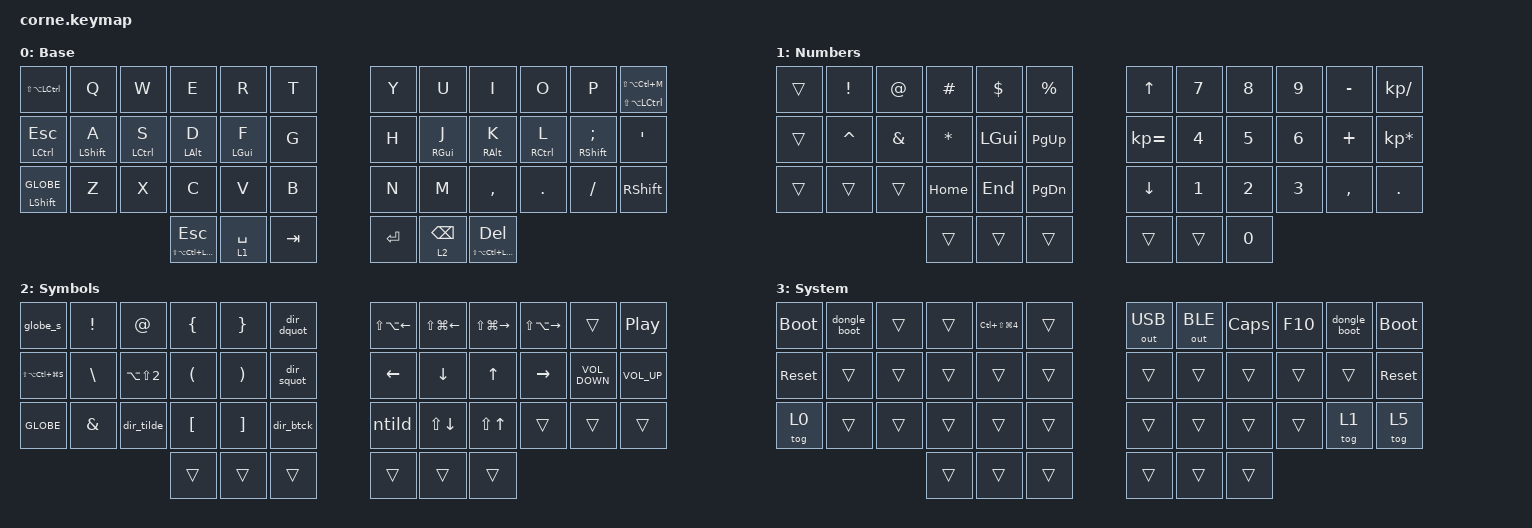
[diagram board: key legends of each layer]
/*
 * Copyright (c) 2020 The ZMK Contributors
 *
 * SPDX-License-Identifier: MIT
 */

#include <behaviors.dtsi>
#include <dt-bindings/zmk/keys.h>
#include <dt-bindings/zmk/outputs.h>

&caps_word { continue-list = <UNDERSCORE BACKSPACE DELETE MINUS>; };

/ {
    combos {
        compatible = "zmk,combos";

        caps_word {
            bindings = <&caps_word>;
            key-positions = <24 35>;
        };

        copy {
            bindings = <&kp LG(C)>;
            key-positions = <27 26>;
        };

        paste {
            bindings = <&kp LG(V)>;
            key-positions = <28 27>;
        };

        cut {
            bindings = <&kp LG(X)>;
            key-positions = <25 26>;
        };

        num1 {
            bindings = <&kp N1>;
            key-positions = <1 13>;
            layers = <0 2>;
            require-prior-idle-ms = <50>;
        };

        num2 {
            bindings = <&kp N2>;
            key-positions = <2 14>;
            layers = <0 2>;
            require-prior-idle-ms = <50>;
        };

        num3 {
            bindings = <&kp N3>;
            key-positions = <3 15>;
            layers = <0 2>;
            require-prior-idle-ms = <50>;
        };

        num4 {
            bindings = <&kp N4>;
            key-positions = <4 16>;
            layers = <0 2>;
            require-prior-idle-ms = <50>;
        };

        num5 {
            bindings = <&kp N5>;
            key-positions = <5 17>;
            layers = <0 2>;
            require-prior-idle-ms = <50>;
        };

        num6 {
            bindings = <&kp N6>;
            key-positions = <6 18>;
            layers = <0 2>;
            require-prior-idle-ms = <50>;
        };

        num7 {
            bindings = <&kp N7>;
            key-positions = <7 19>;
            layers = <0 2>;
            require-prior-idle-ms = <50>;
        };

        num8 {
            bindings = <&kp N8>;
            key-positions = <8 20>;
            layers = <0 2>;
            require-prior-idle-ms = <50>;
        };

        num9 {
            bindings = <&kp N9>;
            key-positions = <9 21>;
            layers = <0 2>;
            require-prior-idle-ms = <50>;
        };

        num0 {
            bindings = <&kp N0>;
            key-positions = <10 22>;
            layers = <0 2>;
            require-prior-idle-ms = <50>;
        };

        arw_left {
            bindings = <&kp LEFT>;
            key-positions = <30 31>;
        };

        arw_dwn {
            bindings = <&kp DOWN>;
            key-positions = <31 32>;
        };

        arw_up {
            bindings = <&kp UP>;
            key-positions = <32 33>;
        };

        arw_rght {
            bindings = <&kp RIGHT>;
            key-positions = <33 34>;
        };
    };

    behaviors {
        as_ht: autoshift_hold_tap {
            compatible = "zmk,behavior-hold-tap";
            #binding-cells = <2>;
            tapping-term-ms = <200>;
            bindings = <&shifted>, <&kp>;
        };

        hmr: hmr {
            compatible = "zmk,behavior-hold-tap";
            bindings = <&kp>, <&kp>;

            #binding-cells = <2>;
            tapping-term-ms = <240>;
            quick-tap-ms = <175>;
            flavor = "balanced";
            hold-trigger-key-positions = <0 1 2 3 4 5 12 13 14 15 16 17 24 25 26 27 28 29 36 37 38>;
            hold-trigger-on-release;
            require-prior-idle-ms = <150>;
        };

        hml: hml {
            compatible = "zmk,behavior-hold-tap";
            bindings = <&kp>, <&kp>;

            #binding-cells = <2>;
            tapping-term-ms = <240>;
            quick-tap-ms = <175>;
            require-prior-idle-ms = <150>;
            flavor = "balanced";
            hold-trigger-key-positions = <6 7 8 9 10 11 18 19 20 21 22 23 30 31 32 33 34 35 39 40 41>;
            hold-trigger-on-release;
        };

        ntild: ntild {
            compatible = "zmk,behavior-mod-morph";
            bindings = <&ntil>, <&ntild_cap>;

            #binding-cells = <0>;
            mods = <(MOD_LSFT)>;
        };
    };

    macros {
        shifted: macro_shifted_kp {
            #binding-cells = <1>;
            compatible = "zmk,behavior-macro-one-param";
            bindings =
                <&macro_press>,
                <&kp LSHFT &macro_param_1to1>,
                <&macro_tap>,
                <&kp MACRO_PLACEHOLDER>,
                <&macro_release>,
                <&kp LSHFT>;
        };

        as: autoshift {
            compatible = "zmk,behavior-macro-one-param";
            #binding-cells = <1>;
            bindings =
                <&macro_press>,
                <&macro_param_1to1 &macro_param_1to2 &as_ht MACRO_PLACEHOLDER MACRO_PLACEHOLDER>,
                <&macro_pause_for_release>,
                <&macro_release>,
                <&macro_param_1to1 &macro_param_1to2 &as_ht MACRO_PLACEHOLDER MACRO_PLACEHOLDER>;
        };

        ntil: uc_ntil {
            compatible = "zmk,behavior-macro";
            #binding-cells = <0>;
            bindings = <&macro_tap>, <&kp LS(GRAVE)>, <&macro_tap>, <&kp N>;

            wait-ms = <0>;
        };

        ntild_cap: uc_ntild_cap {
            compatible = "zmk,behavior-macro";
            #binding-cells = <0>;
            bindings =
                <&macro_press>,
                <&kp LEFT_SHIFT>,
                <&macro_tap>,
                <&kp LS(GRAVE)>,
                <&macro_tap>,
                <&kp N>,
                <&macro_release>,
                <&kp LEFT_SHIFT>;
        };

        dir_dquot: dir_dquot {
            compatible = "zmk,behavior-macro";
            #binding-cells = <0>;
            bindings = <&kp DQT &kp SPACE>;
        };

        dir_squot: dir_squot {
            compatible = "zmk,behavior-macro";
            #binding-cells = <0>;
            bindings = <&kp SQT &kp SPACE>;
        };

        dir_btck: dir_btck {
            compatible = "zmk,behavior-macro";
            #binding-cells = <0>;
            bindings = <&kp GRAVE &kp SPACE>;
        };

        dongle_boot: dongle_boot {
            compatible = "zmk,behavior-macro";
            #binding-cells = <0>;
            bindings = <&bootloader>;
        };

        dir_tilde: dir_tilde {
            compatible = "zmk,behavior-macro";
            #binding-cells = <0>;
            bindings = <&kp TILDE &kp SPACE>;
        };

        globe_s: globe_s {
            compatible = "zmk,behavior-macro";
            #binding-cells = <0>;
            bindings
                = <&macro_press &kp GLOBE>
                , <&macro_tap &kp S>
                , <&macro_release &kp GLOBE>;
        };
    };

    keymap {
        compatible = "zmk,keymap";

        qwerty_layer {
            // --------------------------------------------------------------------------------------------------------
            // | S+A+C    |   Q   |   W   |   E   |   R   |   T   |   |   Y   |   U   |   I   |   O   |   P   | S+A+C |
            // | C/ESC    | Sft/A | Ctl/S | Alt/D | Gui/F |   G   |   |   H   | Gui/J | Alt/K | Ctl/L | Sft/; |   '   |
            // | Shift/FN |   Z   |   X   |   C   |   V   |   B   |   |   N   |   M   |   ,   |   .   |   /   | Shift |
            //                          | ALL/ESC | Lower |  Tab  |   | Enter | Raise | ALL/Del |

            display-name = "Base";
            bindings = <
&kp LS(LA(LCTRL))  &kp Q              &kp W         &kp E                            &kp R            &kp T      &kp Y      &kp U             &kp I                         &kp O         &kp P                       &mt LS(LA(LEFT_CONTROL)) LS(LA(LC(M)))
&mt LCTRL ESCAPE   &hml LEFT_SHIFT A  &hml LCTRL S  &hml LEFT_ALT D                  &hml LEFT_GUI F  &kp G      &kp H      &hmr RIGHT_GUI J  &hmr RIGHT_ALT K              &hmr RCTRL L  &hmr RIGHT_SHIFT SEMICOLON  &kp SINGLE_QUOTE
&mt LSHFT GLOBE    &kp Z              &kp X         &kp C                            &kp V            &kp B      &kp N      &kp M             &kp COMMA                     &kp DOT       &kp FSLH                    &kp RIGHT_SHIFT
                                                    &mt LS(LA(LC(LEFT_GUI))) ESCAPE  &lt 1 SPACE      &kp TAB    &kp ENTER  &lt 2 BACKSPACE   &mt LS(LA(LC(LEFT_GUI))) DEL
            >;
        };

        num_layer {
            // -----------------------------------------------------------------------------------------
            // |  ___  |   !   |   @   |   #   |   $   |   %   |   |   ↑   |   7   |   8   |   9   |   -   |   /   |
            // |  ___  |   ^   |   &   |   *   |  GUI  | PgUp  |   |   =   |   4   |   5   |   6   |   +   |   *   |
            // |  ___  |  ___  |  ___  | Home  |  End  | PgDn  |   |  Down |   1   |   2   |   3   |   ,   |   .   |
            //                         |  ___  |  ___  |  ___  |   |  ___  |  ___  |   0   |

            display-name = "Numbers";
            bindings = <
&trans  &kp EXCLAMATION  &kp AT         &kp HASH      &kp DOLLAR    &kp PERCENT      &kp UP_ARROW  &kp N7  &kp N8  &kp N9  &kp MINUS  &kp KP_DIVIDE
&trans  &kp CARET        &kp AMPERSAND  &kp ASTERISK  &kp LEFT_GUI  &kp PAGE_UP      &kp KP_EQUAL  &kp N4  &kp N5  &kp N6  &kp PLUS   &kp KP_ASTERISK
&trans  &trans           &trans         &kp HOME      &kp END       &kp PAGE_DOWN    &kp DOWN      &kp N1  &kp N2  &kp N3  &kp COMMA  &kp DOT
                                        &trans        &trans        &trans           &trans        &trans  &kp N0
            >;
        };

        symbols_layers {
            // -----------------------------------------------------------------------------------------
            // |  ___  |   !   |   @   |   {   |   }   |  ”␠   |   | S+A←  | S+G←  | S+G→  | S+A→  |  ___  | Play  |
            // | Shot  |   \\  |  A+S2 |   (   |   )   |  ’␠   |   | Left  | Down  |  Up   | Right | Vol-  | Vol+  |
            // | Full  |   &   |  ~␠   |   [   |   ]   |  `␠   |   |   Ñ   | S+Dn  | S+Up  |  ___  |  ___  |  ___  |
            //                         |  ___  |  ___  |  ___  |   |  ___  |  ___  |  ___  |

            display-name = "Symbols";
            bindings = <
&globe_s     &kp EXCLAMATION  &kp AT                &kp LEFT_BRACE        &kp RIGHT_BRACE        &dir_dquot    &kp LS(LA(LEFT))  &kp LS(LG(LEFT_ARROW))  &kp LS(LG(RIGHT))  &kp LS(LA(RIGHT))  &trans             &kp C_PLAY_PAUSE
&kp LS(LA(LC(LG(S))))   &kp BACKSLASH    &kp LA(LS(NUMBER_2))  &kp LEFT_PARENTHESIS  &kp RIGHT_PARENTHESIS  &dir_squot    &kp LEFT          &kp DOWN                &kp UP             &kp RIGHT          &kp C_VOLUME_DOWN  &kp C_VOLUME_UP
&kp GLOBE  &kp AMPERSAND    &dir_tilde            &kp LBKT              &kp RBKT               &dir_btck     &ntild            &kp LS(DOWN)            &kp LS(UP)         &trans             &trans             &trans
                                                  &trans                &trans                 &trans        &trans            &trans                  &trans
            >;
        };

        system_layer {
            // -----------------------------------------------------------------------------------------
            // | Boot  | DBoot |  ___  |  ___  | Shot4 |  ___  |   |  USB  |  BLE  | Caps  |  F10  | DBoot | Boot  |
            // | Reset |  ___  |  ___  |  ___  |  ___  |  ___  |   |  ___  |  ___  |  ___  |  ___  |  ___  | Reset |
            // | Tog0  |  ___  |  ___  |  ___  |  ___  |  ___  |   |  ___  |  ___  |  ___  |  ___  | Tog1  | Tog5  |
            //                         |  ___  |  ___  |  ___  |   |  ___  |  ___  |  ___  |

            display-name = "System";
            bindings = <
&bootloader  &dongle_boot  &trans  &trans  &kp LC(LS(LG(N4)))  &trans    &out OUT_USB  &out OUT_BLE  &kp CAPSLOCK  &kp F10  &dongle_boot  &bootloader
&sys_reset   &trans        &trans  &trans  &trans              &trans    &trans        &trans        &trans        &trans   &trans        &sys_reset
&tog 0       &trans        &trans  &trans  &trans              &trans    &trans        &trans        &trans        &trans   &tog 1        &tog 5
                                   &trans  &trans              &trans    &trans        &trans        &trans
            >;
        };
    };

    conditional_layers {
        compatible = "zmk,conditional-layers";

        SYS {
            if-layers = <1 2>;
            then-layer = <3>;
        };

        SYS_REV {
            if-layers = <2 1>;
            then-layer = <3>;
        };
    };
};
